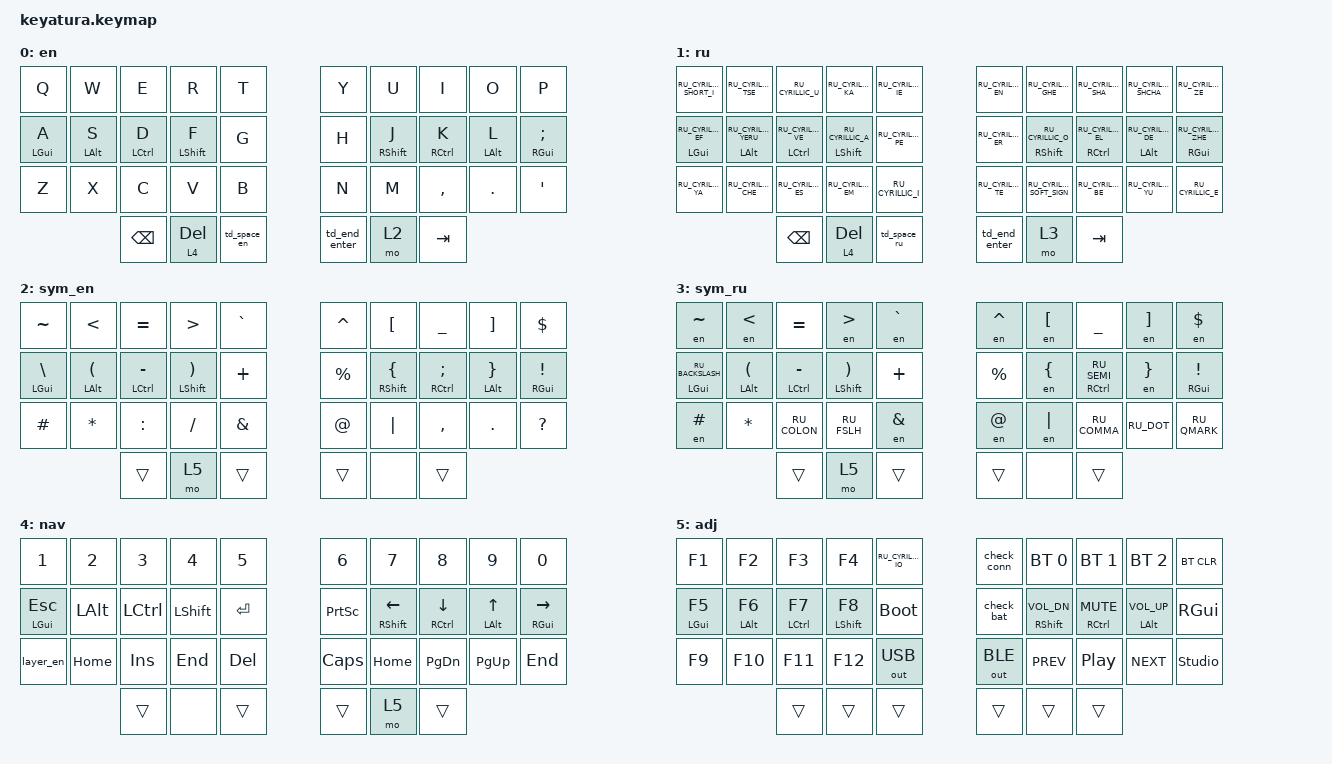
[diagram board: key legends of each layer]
#include <locale/keys_ru.h>
#include <behaviors/vfx_indicator.dtsi>
#include <behaviors.dtsi>
#include <dt-bindings/zmk/bt.h>
#include <dt-bindings/zmk/keys.h>
#include <dt-bindings/zmk/outputs.h>

&mt {
    quick-tap-ms = <200>;
    flavor = "tap-preferred";
    require-prior-idle-ms = <125>;
};

/ {
    behaviors {
        hml: home_row_mod_left {
            compatible = "zmk,behavior-hold-tap";
            #binding-cells = <2>;
            flavor = "balanced";
            require-prior-idle-ms = <150>;
            tapping-term-ms = <280>;
            quick-tap-ms = <175>;
            bindings = <&kp>, <&kp>;

            hold-trigger-key-positions = <5 6 7 8 9 15 16 17 18 19 25 26 27 28 29 33 34 35>;
            hold-trigger-on-release;
        };

        hmr: home_row_mod_right {
            compatible = "zmk,behavior-hold-tap";
            #binding-cells = <2>;
            flavor = "balanced";
            require-prior-idle-ms = <150>;
            tapping-term-ms = <280>;
            quick-tap-ms = <175>;
            bindings = <&kp>, <&kp>;

            hold-trigger-key-positions = <0 1 2 3 4 10 11 12 13 14 20 21 22 23 24 30 31 32>;
            hold-trigger-on-release;
        };

        td_space_en: tap_dance_space_en {
            compatible = "zmk,behavior-tap-dance";
            #binding-cells = <0>;
            tapping-term-ms = <200>;
            bindings = <&kp SPACE>, <&space_dot_shift_en>;
        };

        td_space_ru: tap_dance_space_ru {
            compatible = "zmk,behavior-tap-dance";
            #binding-cells = <0>;
            tapping-term-ms = <200>;
            bindings = <&kp SPACE>, <&space_dot_shift_ru>;
        };

        td_end_enter: tap_dance_end_enter {
            compatible = "zmk,behavior-tap-dance";
            #binding-cells = <0>;
            tapping-term-ms = <200>;
            bindings = <&kp ENTER>, <&end_enter>;
        };
    };

    combos {
        compatible = "zmk,combos";

        kha {
            bindings = <&kp RU_CYRILLIC_HA>;
            key-positions = <6 7>;
            layers = <1>;
        };

        hrdsgn {
            bindings = <&kp RU_CYRILLIC_HARD_SIGN>;
            key-positions = <7 8>;
            layers = <1>;
        };

        cmben {
            bindings = <&layer_en>;
            key-positions = <3 4>;
            layers = <0 1>;
        };

        cmbru {
            bindings = <&layer_ru>;
            key-positions = <5 6>;
            layers = <0 1>;
        };

        cmbCtrlZ {
            bindings = <&kp LC(Z)>;
            key-positions = <20 21>;
            layers = <0 1>;
        };
        
        cmbCtrlX {
            bindings = <&kp LC(X)>;
            key-positions = <21 22>;
            layers = <0 1>;
        };
        
        cmbCtrlC {
            bindings = <&kp LC(C)>;
            key-positions = <22 23>;
            layers = <0 1>;
        };

        cmbCtrlV {
            bindings = <&kp LC(V)>;
            key-positions = <23 24>;
            layers = <0 1>;
        };
    };

    macros {
        layout_switch_wait: layout_switch_wait {
            compatible = "zmk,behavior-macro";
            #binding-cells = <0>;
            bindings = 
                <&macro_wait_time 50>
                ;
            label = "LAYOUT_SWITCH_WAIT";
        };

        to_ru: to_ru {
            compatible = "zmk,behavior-macro";
            #binding-cells = <0>;
            bindings
                = <&macro_press &kp LCTRL>
                , <&macro_press &kp LSHIFT>
                , <&layout_switch_wait>
                , <&macro_tap &kp N2>
                , <&layout_switch_wait>
                , <&macro_release &kp LSHIFT>
                , <&macro_release &kp LCTRL>
                ;
            label = "TO_RU";
        };

        to_en: to_en {
            compatible = "zmk,behavior-macro";
            #binding-cells = <0>;
            bindings 
                = <&macro_press &kp LCTRL>
                , <&macro_press &kp LSHIFT>
                , <&layout_switch_wait>
                , <&macro_tap &kp N1>
                , <&layout_switch_wait>
                , <&macro_release &kp LSHIFT>
                , <&macro_release &kp LCTRL>
                ;
            label = "TO_EN";
        };

        layer_en: layer_en {
            compatible = "zmk,behavior-macro";
            #binding-cells = <0>;
            bindings = <&to 0 &to_en>;
            label = "LAYER_EN";
        };

        layer_ru: layer_ru {
            compatible = "zmk,behavior-macro";
            #binding-cells = <0>;
            bindings = <&to 1 &to_ru>;
            label = "LAYER_RU";
        };

        en: en {
            compatible = "zmk,behavior-macro-one-param";
            #binding-cells = <1>;
            bindings =
                <&to_en &macro_param_1to1 &kp MACRO_PLACEHOLDER>,
                <&macro_wait_time 10>,
                <&to_ru>,
                <&macro_wait_time 10>;

            label = "EN";
        };

        space_dot_shift_en: space_dot_shift_en {
            compatible = "zmk,behavior-macro";
            #binding-cells = <0>;
            bindings
                = <&macro_tap &kp DOT>
                , <&macro_wait_time 10>
                , <&macro_tap &kp SPACE>
                , <&macro_wait_time 10>
                , <&macro_tap &sk LSHIFT>
                ;
            label = "SPACE_DOT_SHIFT_EN";
        };

        space_dot_shift_ru: space_dot_shift_ru {
            compatible = "zmk,behavior-macro";
            #binding-cells = <0>;
            bindings
                = <&macro_tap &kp RU_DOT>
                , <&macro_wait_time 10>
                , <&macro_tap &kp SPACE>
                , <&macro_wait_time 10>
                , <&macro_tap &sk LSHIFT>
                ;
            label = "SPACE_DOT_SHIFT_RU";
        };

        end_enter: end_enter {
            compatible = "zmk,behavior-macro";
            #binding-cells = <0>;
            bindings
                = <&macro_tap &kp END>
                , <&macro_wait_time 10>
                , <&macro_tap &kp ENTER>
                ;
            label = "END_ENTER";
        };

    };

    keymap {
        compatible = "zmk,keymap";

        en {
            bindings = <
  &kp Q        &kp W        &kp E         &kp R          &kp T                                  &kp Y  &kp U         &kp I         &kp O        &kp P
  &hml LGUI A  &hml LALT S  &hml LCTRL D  &hml LSHFT F   &kp G                                  &kp H  &hmr RSHFT J  &hmr RCTRL K  &hmr LALT L  &hmr RGUI SEMICOLON
  &kp Z        &kp X        &kp C         &kp V          &kp B                                  &kp N  &kp M         &kp COMMA     &kp DOT      &kp SQT
                                          &kp BACKSPACE  &lt 4 DELETE &td_space_en   &td_end_enter  &mo 2  &kp TAB
            >;
        };

        ru {
            bindings = <
  &kp RU_CYRILLIC_SHORT_I   &kp RU_CYRILLIC_TSE         &kp RU_CYRILLIC_U          &kp RU_CYRILLIC_KA        &kp RU_CYRILLIC_IE                             &kp RU_CYRILLIC_EN  &kp RU_CYRILLIC_GHE        &kp RU_CYRILLIC_SHA        &kp RU_CYRILLIC_SHCHA     &kp RU_CYRILLIC_ZE
  &hml LGUI RU_CYRILLIC_EF  &hml LALT RU_CYRILLIC_YERU  &hml LCTRL RU_CYRILLIC_VE  &hml LSHFT RU_CYRILLIC_A  &kp RU_CYRILLIC_PE                             &kp RU_CYRILLIC_ER  &hmr RSHFT RU_CYRILLIC_O   &hmr RCTRL RU_CYRILLIC_EL  &hmr LALT RU_CYRILLIC_DE  &hmr RGUI RU_CYRILLIC_ZHE
  &kp RU_CYRILLIC_YA        &kp RU_CYRILLIC_CHE         &kp RU_CYRILLIC_ES         &kp RU_CYRILLIC_EM        &kp RU_CYRILLIC_I                              &kp RU_CYRILLIC_TE  &kp RU_CYRILLIC_SOFT_SIGN  &kp RU_CYRILLIC_BE         &kp RU_CYRILLIC_YU        &kp RU_CYRILLIC_E
                                                                                   &kp BACKSPACE             &lt 4 DELETE               &td_space_ru    &td_end_enter  &mo 3               &kp TAB
            >;
        };

        sym_en {
            bindings = <
  &kp TILDE       &kp LT          &kp EQUAL         &kp GT           &kp GRAVE                    &kp CARET  &kp LBKT         &kp UNDER        &kp RBKT        &kp DLLR
  &hml LGUI BSLH  &hml LALT LPAR  &hml LCTRL MINUS  &hml LSHFT RPAR  &kp PLUS                     &kp PRCNT  &hmr RSHFT LBRC  &hmr RCTRL SEMI  &hmr LALT RBRC  &hmr RGUI EXCL
  &kp HASH        &kp STAR        &kp COLON         &kp FSLH         &kp AMPS                     &kp AT     &kp PIPE         &kp COMMA        &kp DOT         &kp QMARK
                                                    &trans           &mo 5      &trans    &trans  &none      &trans
            >;
        };

        sym_ru {
            bindings = <
  &en TILDE               &en LT          &kp EQUAL         &en GT           &en GRAVE                    &en CARET  &en LBKT  &kp UNDER           &en RBKT    &en DLLR
  &hml LGUI RU_BACKSLASH  &hml LALT LPAR  &hml LCTRL MINUS  &hml LSHFT RPAR  &kp PLUS                     &kp PRCNT  &en LBRC  &hmr RCTRL RU_SEMI  &en RBRC    &hmr RGUI EXCL
  &en HASH                &kp STAR        &kp RU_COLON      &kp RU_FSLH      &en AMPS                     &en AT     &en PIPE  &kp RU_COMMA        &kp RU_DOT  &kp RU_QMARK
                                                            &trans           &mo 5      &trans    &trans  &none      &trans
            >;
        };

        nav {
            bindings = <
  &kp N1         &kp N2    &kp N3     &kp N4     &kp N5                        &kp N6           &kp N7           &kp N8           &kp N9        &kp N0
  &hml LGUI ESC  &kp LALT  &kp LCTRL  &kp LSHFT  &kp ENTER                     &kp PRINTSCREEN  &hmr RSHFT LEFT  &hmr RCTRL DOWN  &hmr LALT UP  &hmr RGUI RIGHT
  &layer_en      &kp HOME  &kp INS    &kp END    &kp DELETE                    &kp CAPS         &kp HOME         &kp PG_DN        &kp PG_UP     &kp END
                                      &trans     &none       &trans    &trans  &mo 5            &trans
            >;
        };

        adj {
            bindings = <
  &kp F1        &kp F2        &kp F3         &kp F4         &kp RU_CYRILLIC_IO                    &check_conn   &bt BT_SEL 0         &bt BT_SEL 1       &bt BT_SEL 2        &bt BT_CLR
  &hml LGUI F5  &hml LALT F6  &hml LCTRL F7  &hml LSHFT F8  &bootloader                           &check_bat    &hmr RSHFT C_VOL_DN  &hmr RCTRL C_MUTE  &hmr LALT C_VOL_UP  &kp RGUI
  &kp F9        &kp F10        &kp F11       &kp F12        &out OUT_USB                          &out OUT_BLE  &kp C_PREV           &kp C_PP           &kp C_NEXT          &studio_unlock
                                             &trans         &trans              &trans    &trans  &trans        &trans
            >;
        };
    };
};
